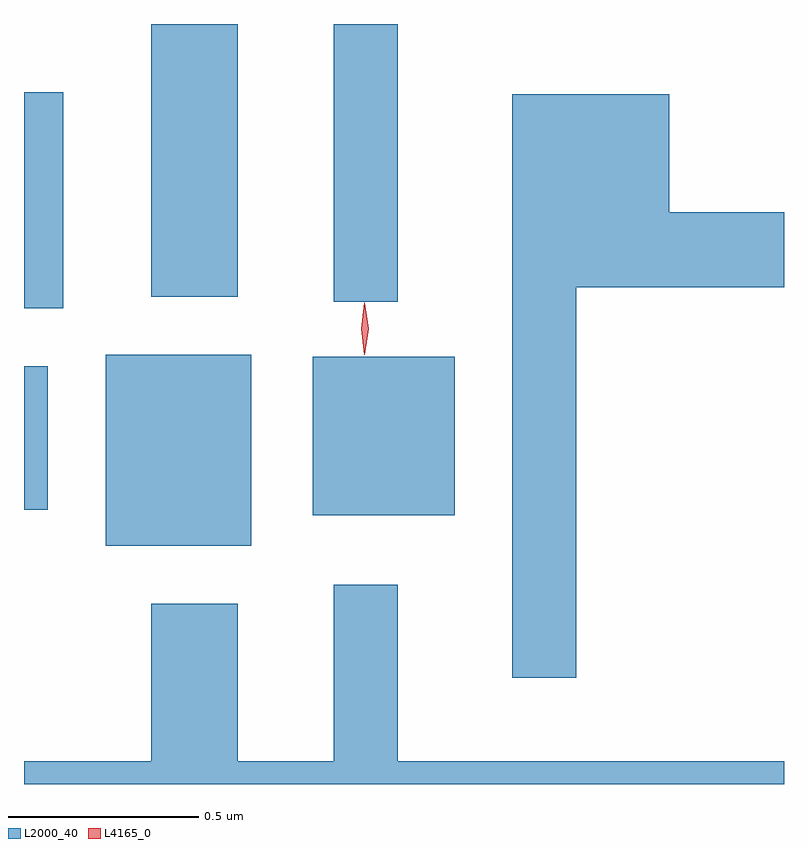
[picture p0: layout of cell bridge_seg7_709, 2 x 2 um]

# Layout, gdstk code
import gdstk
lib = gdstk.Library(unit=1e-6, precision=1e-09)
def R(c, l, rs):  # rectangles x0, y0, x1, y1
    for r in rs: c.add(gdstk.rectangle(r[:2], r[2:], *l))
def P(c, l, *ps):  # polygons
    for p in ps: c.add(gdstk.Polygon(p, *l))
L2000_40 = (2000, 40)
L4165_0 = (4165, 0)

bridge_seg7_709 = lib.new_cell('bridge_seg7_709')
R(bridge_seg7_709, L2000_40, [(963.261,1672.971,963.644,1673.474), (963.806,1673.051,964.179,1673.469), (963.046,1673.066,963.109,1673.444), (963.046,1673.596,963.149,1674.164), (963.861,1673.613,964.029,1674.344), (963.381,1673.626,963.609,1674.344)])
P(bridge_seg7_709, L2000_40, [(964.499,1673.651),(965.046,1673.651),(965.046,1673.849),(964.744,1673.849),(964.744,1674.159),(964.331,1674.159),(964.331,1672.623),(964.499,1672.623)],
  [(965.046,1672.404),(964.029,1672.404),(964.029,1672.868),(963.861,1672.868),(963.861,1672.404),(963.609,1672.404),(963.609,1672.819),(963.381,1672.819),(963.381,1672.404),(963.046,1672.404),(963.046,1672.344),(965.046,1672.344)])
P(bridge_seg7_709, L4165_0, [(963.942,1673.474),(963.933,1673.542),(963.942,1673.61),(963.943,1673.61),(963.943,1673.61),(963.953,1673.542),(963.943,1673.474),(963.943,1673.474)],
  [(963.942,1673.478),(963.933,1673.542),(963.942,1673.607),(963.943,1673.607),(963.943,1673.607),(963.953,1673.542),(963.943,1673.478),(963.943,1673.478)])

lib.write_gds('bridge_seg7_709.gds')
